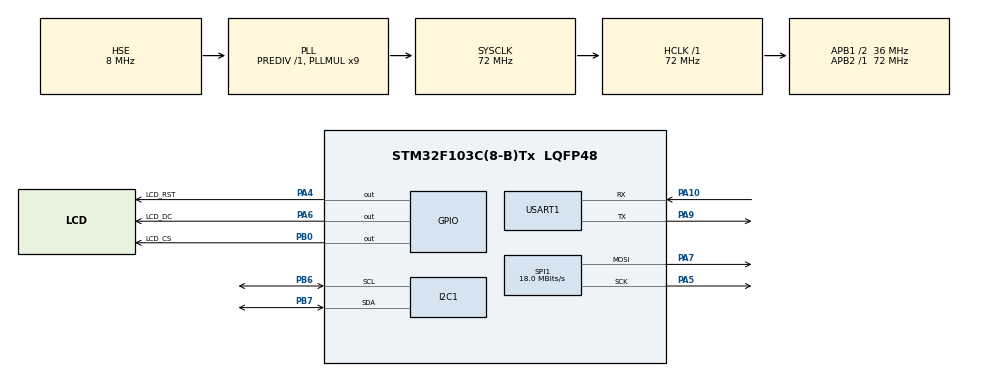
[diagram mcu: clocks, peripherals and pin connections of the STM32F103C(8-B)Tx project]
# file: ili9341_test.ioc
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Dma.Request0=SPI1_TX
Dma.SPI1_TX.0.Direction=DMA_MEMORY_TO_PERIPH
Dma.SPI1_TX.0.Instance=DMA1_Channel3
Dma.SPI1_TX.0.MemDataAlignment=DMA_MDATAALIGN_BYTE
Dma.SPI1_TX.0.MemInc=DMA_MINC_ENABLE
Dma.SPI1_TX.0.Mode=DMA_NORMAL
Dma.SPI1_TX.0.PeriphDataAlignment=DMA_PDATAALIGN_BYTE
Dma.SPI1_TX.0.PeriphInc=DMA_PINC_DISABLE
Dma.SPI1_TX.0.Priority=DMA_PRIORITY_LOW
Mcu.Family=STM32F1
Mcu.Name=STM32F103C(8-B)Tx
Mcu.Package=LQFP48
NVIC.DMA1_Channel3_IRQn=true\:0\:0\:false\:false\:true\:false\:true\:true
NVIC.PriorityGroup=NVIC_PRIORITYGROUP_4
PA10.Mode=Asynchronous
PA10.Signal=USART1_RX
PA13.Mode=Serial_Wire
PA13.Signal=SYS_JTMS-SWDIO
PA14.Mode=Serial_Wire
PA14.Signal=SYS_JTCK-SWCLK
PA4.GPIO_Label=LCD_RST
PA4.GPIO_PuPd=GPIO_PULLUP
PA4.GPIO_Speed=GPIO_SPEED_FREQ_HIGH
PA4.PinState=GPIO_PIN_SET
PA4.Signal=GPIO_Output
PA5.Mode=TX_Only_Simplex_Unidirect_Master
PA5.Signal=SPI1_SCK
PA6.GPIO_Label=LCD_DC
PA6.GPIO_PuPd=GPIO_PULLUP
PA6.GPIO_Speed=GPIO_SPEED_FREQ_HIGH
PA6.PinState=GPIO_PIN_SET
PA6.Signal=GPIO_Output
PA7.Mode=TX_Only_Simplex_Unidirect_Master
PA7.Signal=SPI1_MOSI
PA9.Mode=Asynchronous
PA9.Signal=USART1_TX
PB0.GPIO_Label=LCD_CS
PB0.GPIO_PuPd=GPIO_PULLUP
PB0.GPIO_Speed=GPIO_SPEED_FREQ_HIGH
PB0.PinState=GPIO_PIN_SET
PB0.Signal=GPIO_Output
PB6.Mode=I2C
PB6.Signal=I2C1_SCL
PB7.Mode=I2C
PB7.Signal=I2C1_SDA
PD0-OSC_IN.Mode=HSE-External-Oscillator
PD0-OSC_IN.Signal=RCC_OSC_IN
PD1-OSC_OUT.Mode=HSE-External-Oscillator
PD1-OSC_OUT.Signal=RCC_OSC_OUT
ProjectManager.HeapSize=0x200
ProjectManager.StackSize=0x400
ProjectManager.TargetToolchain=STM32CubeIDE
RCC.AHBFreq_Value=72000000
RCC.APB1CLKDivider=RCC_HCLK_DIV2
RCC.APB1Freq_Value=36000000
RCC.APB1TimFreq_Value=72000000
RCC.APB2Freq_Value=72000000
RCC.APB2TimFreq_Value=72000000
RCC.HCLKFreq_Value=72000000
RCC.PLLMUL=RCC_PLL_MUL9
RCC.PLLSourceVirtual=RCC_PLLSOURCE_HSE
RCC.SYSCLKFreq_VALUE=72000000
RCC.SYSCLKSource=RCC_SYSCLKSOURCE_PLLCLK
RCC.USBFreq_Value=72000000
SPI1.BaudRatePrescaler=SPI_BAUDRATEPRESCALER_4
SPI1.CalculateBaudRate=18.0 MBits/s
SPI1.Direction=SPI_DIRECTION_2LINES
SPI1.Mode=SPI_MODE_MASTER
SPI1.VirtualType=VM_MASTER
USART1.VirtualMode=VM_ASYNC
board=custom

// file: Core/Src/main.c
/* USER CODE BEGIN Header */
/**
 ******************************************************************************
 * @file           : main.c
 * @brief          : Main program body
 ******************************************************************************
 * @attention
 *
 * Copyright (c) 2023 STMicroelectronics.
 * All rights reserved.
 *
 * This software is licensed under terms that can be found in the LICENSE file
 * in the root directory of this software component.
 * If no LICENSE file comes with this software, it is provided AS-IS.
 *
 ******************************************************************************
 */
/* USER CODE END Header */
#include "main.h"

/* USER CODE BEGIN Includes */
#include "stdio.h"
#include "stdlib.h"
#include "ILI9341_STM32_Driver.h"
#include "ILI9341_GFX.h"
#include "adxl345.h"
/* USER CODE END Includes */

I2C_HandleTypeDef hi2c1;

SPI_HandleTypeDef hspi1;
DMA_HandleTypeDef hdma_spi1_tx;

UART_HandleTypeDef huart1;

/* USER CODE BEGIN PV */
char buffer[10];

typedef struct _point {
	int x;
	int y;
} Point;

Point point[100];

float readings[3] = { 0, 0, 0 }; // X, Y and Z buffer
/* USER CODE END PV */

void SystemClock_Config(void);
static void MX_GPIO_Init(void);
static void MX_DMA_Init(void);
static void MX_SPI1_Init(void);
static void MX_I2C1_Init(void);
static void MX_USART1_UART_Init(void);

/* USER CODE BEGIN 0 */
int __io_putchar(int ch) {
	(void) HAL_UART_Transmit(&huart1, (uint8_t*) &ch, 1, 100);
	return ch;
}
/* USER CODE END 0 */

int main(void)
{

  /* MCU Configuration--------------------------------------------------------*/

  /* Reset of all peripherals, Initializes the Flash interface and the Systick. */
  HAL_Init();

  /* Configure the system clock */
  SystemClock_Config();

  /* Initialize all configured peripherals */
  MX_GPIO_Init();
  MX_DMA_Init();
  MX_SPI1_Init();
  MX_I2C1_Init();
  MX_USART1_UART_Init();
  /* USER CODE BEGIN 2 */

	ILI9341_Init();

	// Simple Text writing (Text, Font, X, Y, Color, BackColor)
	// Available Fonts are FONT1, FONT2, FONT3 and FONT4
	//ILI9341_FillScreen(WHITE);
	ILI9341_SetRotation(SCREEN_HORIZONTAL_1);
	//ILI9341_DrawText("HELLO WORLD", FONT4, 90, 110, BLACK, WHITE);
	//HAL_Delay(1000);

	//Writing numbers
	ILI9341_FillScreen(BLACK);
	/*
	 static char BufferText[30];
	 for (uint8_t i = 0; i <= 5; i++) {
	 sprintf(BufferText, "COUNT : %d", i);
	 ILI9341_DrawText(BufferText, FONT3, 10, 10, BLACK, WHITE);
	 ILI9341_DrawText(BufferText, FONT3, 10, 30, BLUE, WHITE);
	 ILI9341_DrawText(BufferText, FONT3, 10, 50, RED, WHITE);
	 ILI9341_DrawText(BufferText, FONT3, 10, 70, GREEN, WHITE);
	 ILI9341_DrawText(BufferText, FONT3, 10, 90, YELLOW, WHITE);
	 ILI9341_DrawText(BufferText, FONT3, 10, 110, PURPLE, WHITE);
	 ILI9341_DrawText(BufferText, FONT3, 10, 130, ORANGE, WHITE);
	 ILI9341_DrawText(BufferText, FONT3, 10, 150, MAROON, WHITE);
	 ILI9341_DrawText(BufferText, FONT3, 10, 170, WHITE, BLACK);
	 ILI9341_DrawText(BufferText, FONT3, 10, 190, BLUE, BLACK);
	 }

	 // Horizontal Line (X, Y, Length, Color)
	 ILI9341_FillScreen(WHITE);
	 ILI9341_DrawHLine(50, 120, 200, NAVY);
	 HAL_Delay(1000);

	 // Vertical Line (X, Y, Length, Color)
	 ILI9341_FillScreen(WHITE);
	 ILI9341_DrawVLine(160, 40, 150, DARKGREEN);
	 HAL_Delay(1000);

	 // Hollow Circle (Centre X, Centre Y, Radius, Color)
	 ILI9341_FillScreen(WHITE);
	 ILI9341_DrawHollowCircle(160, 120, 80, PINK);
	 HAL_Delay(1000);

	 // Filled Circle (Centre X, Centre Y, Radius, Color)
	 ILI9341_FillScreen(WHITE);
	 ILI9341_DrawFilledCircle(160, 120, 50, CYAN);
	 HAL_Delay(1000);

	 // Filled Rectangle (Start X, Start Y, Length X, Length Y)
	 ILI9341_FillScreen(WHITE);
	 ILI9341_DrawRectangle(50, 50, 220, 140, GREENYELLOW);
	 HAL_Delay(1000);

	 // Hollow Rectangle (Start X, Start Y, End X, End Y)
	 ILI9341_FillScreen(WHITE);
	 ILI9341_DrawHollowRectangleCoord(50, 50, 270, 190, DARKCYAN);
	 HAL_Delay(1000);

	 // Simple Pixel Only (X, Y, Color)
	 ILI9341_FillScreen(WHITE);
	 ILI9341_DrawPixel(100, 100, BLACK);
	 HAL_Delay(1000);
	 */
  /* USER CODE END 2 */

  /* Infinite loop */
  /* USER CODE BEGIN WHILE */
	ADXL345Init();
	accelAverage();

	for (int i = 0; i < 25; i++) {
		int gap = rand() % 50;
		point[i].x = 160 - gap;
		point[i].y = 120 - gap;
	}

	for (int i = 25; i < 50; i++) {
		int gap = rand() % 50;
		point[i].x = 160 + gap;
		point[i].y = 120 + gap;
	}
	for (int i = 50; i < 75; i++) {
		int gap = rand() % 50;
		point[i].x = 160 + gap;
		point[i].y = 120 - gap;
	}
	for (int i = 75; i < 100; i++) {
		int gap = rand() % 50;
		point[i].x = 160 - gap;
		point[i].y = 120 + gap;
	}

	 int rad[100];
	 for (int i = 0; i < 100; i++) {
	 rad[i] = rand() % 20;
	 }

	while (1) {
    /* USER CODE END WHILE */

    /* USER CODE BEGIN 3 */
		// ILI9341_FillScreen(BLACK);
		int16_t x, y, z = 0;
		multiDataRead(&x, &y, &z);
		x -= readings[0];
		y -= readings[1];
		z -= readings[2];
		z += 256;
		printf("%d %d %d\r\n", x, y, z);

		for (int i = 0; i < 25; i++) {
			float ratio = rand() % 100;
			ratio = ratio * 0.01;
			int pixel_y = ratio * x * 120 / 512;
			int pixel_x = ratio * y * 160 / 512;
			ILI9341_DrawPixel(point[i].x, point[i].y, BLACK);

			//ILI9341_DrawHollowCircle(point[i].x, point[i].y, rad[i], BLACK);
			//ILI9341_DrawText("HELLO", FONT4, point[i].x, point[i].y, BLACK, BLACK);

			point[i].x = point[i].x - pixel_x;
			point[i].y = point[i].y - pixel_y;

			if (point[i].x > 319) {
				point[i].x = 319;
			} else if (point[i].x < 0) {
				point[i].x = 0;
			}

			if (point[i].y > 239) {
				point[i].y = 239;
			} else if (point[i].y < 0) {
				point[i].y = 0;
			}
			ILI9341_DrawPixel(point[i].x, point[i].y, GREEN);
			//ILI9341_DrawHollowCircle(point[i].x, point[i].y, rad[i], GREEN);
			//ILI9341_DrawText("HELLO", FONT4, point[i].x, point[i].y, WHITE, BLACK);
		}

		for (int i = 25; i < 50; i++) {
			float ratio = rand() % 100;
			ratio = ratio * 0.01;
			int pixel_y = ratio * x * 120 / 512;
			int pixel_x = ratio * y * 160 / 512;
			ILI9341_DrawPixel(point[i].x, point[i].y, BLACK);

			//ILI9341_DrawHollowCircle(point[i].x, point[i].y, rad[i], BLACK);
			//ILI9341_DrawText("WORLD", FONT4, point[i].x, point[i].y, BLACK, BLACK);

			point[i].x = point[i].x - pixel_x;
			point[i].y = point[i].y - pixel_y;

			if (point[i].x > 319) {
				point[i].x = 319;
			} else if (point[i].x < 0) {
				point[i].x = 0;
			}

			if (point[i].y > 239) {
				point[i].y = 239;
			} else if (point[i].y < 0) {
				point[i].y = 0;
			}
			ILI9341_DrawPixel(point[i].x, point[i].y, CYAN);
			//ILI9341_DrawHollowCircle(point[i].x, point[i].y, rad[i], CYAN);
			//ILI9341_DrawText("WORLD", FONT4, point[i].x, point[i].y, WHITE, BLACK);
		}

		for (int i = 50; i < 75; i++) {
			float ratio = rand() % 100;
			ratio = ratio * 0.01;
			int pixel_y = ratio * x * 120 / 512;
			int pixel_x = ratio * y * 160 / 512;
			ILI9341_DrawPixel(point[i].x, point[i].y, BLACK);

			//ILI9341_DrawHollowCircle(point[i].x, point[i].y, rad[i], BLACK);
			//ILI9341_DrawText("pill", FONT4, point[i].x, point[i].y, BLACK, BLACK);

			point[i].x = point[i].x - pixel_x;
			point[i].y = point[i].y - pixel_y;

			if (point[i].x > 319) {
				point[i].x = 319;
			} else if (point[i].x < 0) {
				point[i].x = 0;
			}

			if (point[i].y > 239) {
				point[i].y = 239;
			} else if (point[i].y < 0) {
				point[i].y = 0;
			}
			ILI9341_DrawPixel(point[i].x, point[i].y, YELLOW);
			//ILI9341_DrawHollowCircle(point[i].x, point[i].y, rad[i], YELLOW);
			//ILI9341_DrawText("pill", FONT4, point[i].x, point[i].y, WHITE, BLACK);
		}

		for (int i = 75; i < 100; i++) {
			float ratio = rand() % 100;
			ratio = ratio * 0.01;
			int pixel_y = ratio * x * 120 / 512;
			int pixel_x = ratio * y * 160 / 512;
			ILI9341_DrawPixel(point[i].x, point[i].y, BLACK);

			//ILI9341_DrawHollowCircle(point[i].x, point[i].y, rad[i], BLACK);
			//ILI9341_DrawText("blue", FONT4, point[i].x, point[i].y, BLACK, BLACK);

			point[i].x = point[i].x - pixel_x;
			point[i].y = point[i].y - pixel_y;

			if (point[i].x > 319) {
				point[i].x = 319;
			} else if (point[i].x < 0) {
				point[i].x = 0;
			}

			if (point[i].y > 239) {
				point[i].y = 239;
			} else if (point[i].y < 0) {
				point[i].y = 0;
			}
			ILI9341_DrawPixel(point[i].x, point[i].y, ORANGE);
			//ILI9341_DrawHollowCircle(point[i].x, point[i].y, rad[i], ORANGE);
			//ILI9341_DrawText("blue", FONT4, point[i].x, point[i].y, WHITE, BLACK);
		}

	}
  /* USER CODE END 3 */
}

void SystemClock_Config(void)
{
  RCC_OscInitTypeDef RCC_OscInitStruct = {0};
  RCC_ClkInitTypeDef RCC_ClkInitStruct = {0};

  /** Initializes the RCC Oscillators according to the specified parameters
  * in the RCC_OscInitTypeDef structure.
  */
  RCC_OscInitStruct.OscillatorType = RCC_OSCILLATORTYPE_HSE;
  RCC_OscInitStruct.HSEState = RCC_HSE_ON;
  RCC_OscInitStruct.HSEPredivValue = RCC_HSE_PREDIV_DIV1;
  RCC_OscInitStruct.HSIState = RCC_HSI_ON;
  RCC_OscInitStruct.PLL.PLLState = RCC_PLL_ON;
  RCC_OscInitStruct.PLL.PLLSource = RCC_PLLSOURCE_HSE;
  RCC_OscInitStruct.PLL.PLLMUL = RCC_PLL_MUL9;
  if (HAL_RCC_OscConfig(&RCC_OscInitStruct) != HAL_OK)
  {
    Error_Handler();
  }

  /** Initializes the CPU, AHB and APB buses clocks
  */
  RCC_ClkInitStruct.ClockType = RCC_CLOCKTYPE_HCLK|RCC_CLOCKTYPE_SYSCLK
                              |RCC_CLOCKTYPE_PCLK1|RCC_CLOCKTYPE_PCLK2;
  RCC_ClkInitStruct.SYSCLKSource = RCC_SYSCLKSOURCE_PLLCLK;
  RCC_ClkInitStruct.AHBCLKDivider = RCC_SYSCLK_DIV1;
  RCC_ClkInitStruct.APB1CLKDivider = RCC_HCLK_DIV2;
  RCC_ClkInitStruct.APB2CLKDivider = RCC_HCLK_DIV1;

  if (HAL_RCC_ClockConfig(&RCC_ClkInitStruct, FLASH_LATENCY_2) != HAL_OK)
  {
    Error_Handler();
  }
}

static void MX_I2C1_Init(void)
{

  hi2c1.Instance = I2C1;
  hi2c1.Init.ClockSpeed = 100000;
  hi2c1.Init.DutyCycle = I2C_DUTYCYCLE_2;
  hi2c1.Init.OwnAddress1 = 0;
  hi2c1.Init.AddressingMode = I2C_ADDRESSINGMODE_7BIT;
  hi2c1.Init.DualAddressMode = I2C_DUALADDRESS_DISABLE;
  hi2c1.Init.OwnAddress2 = 0;
  hi2c1.Init.GeneralCallMode = I2C_GENERALCALL_DISABLE;
  hi2c1.Init.NoStretchMode = I2C_NOSTRETCH_DISABLE;
  if (HAL_I2C_Init(&hi2c1) != HAL_OK)
  {
    Error_Handler();
  }

}

static void MX_SPI1_Init(void)
{

  /* SPI1 parameter configuration*/
  hspi1.Instance = SPI1;
  hspi1.Init.Mode = SPI_MODE_MASTER;
  hspi1.Init.Direction = SPI_DIRECTION_2LINES;
  hspi1.Init.DataSize = SPI_DATASIZE_8BIT;
  hspi1.Init.CLKPolarity = SPI_POLARITY_LOW;
  hspi1.Init.CLKPhase = SPI_PHASE_1EDGE;
  hspi1.Init.NSS = SPI_NSS_SOFT;
  hspi1.Init.BaudRatePrescaler = SPI_BAUDRATEPRESCALER_4;
  hspi1.Init.FirstBit = SPI_FIRSTBIT_MSB;
  hspi1.Init.TIMode = SPI_TIMODE_DISABLE;
  hspi1.Init.CRCCalculation = SPI_CRCCALCULATION_DISABLE;
  hspi1.Init.CRCPolynomial = 10;
  if (HAL_SPI_Init(&hspi1) != HAL_OK)
  {
    Error_Handler();
  }

}

static void MX_USART1_UART_Init(void)
{

  huart1.Instance = USART1;
  huart1.Init.BaudRate = 115200;
  huart1.Init.WordLength = UART_WORDLENGTH_8B;
  huart1.Init.StopBits = UART_STOPBITS_1;
  huart1.Init.Parity = UART_PARITY_NONE;
  huart1.Init.Mode = UART_MODE_TX_RX;
  huart1.Init.HwFlowCtl = UART_HWCONTROL_NONE;
  huart1.Init.OverSampling = UART_OVERSAMPLING_16;
  if (HAL_UART_Init(&huart1) != HAL_OK)
  {
    Error_Handler();
  }

}

static void MX_DMA_Init(void)
{

  /* DMA controller clock enable */
  __HAL_RCC_DMA1_CLK_ENABLE();

  /* DMA interrupt init */
  /* DMA1_Channel3_IRQn interrupt configuration */
  HAL_NVIC_SetPriority(DMA1_Channel3_IRQn, 0, 0);
  HAL_NVIC_EnableIRQ(DMA1_Channel3_IRQn);

}

static void MX_GPIO_Init(void)
{
  GPIO_InitTypeDef GPIO_InitStruct = {0};

  /* GPIO Ports Clock Enable */
  __HAL_RCC_GPIOD_CLK_ENABLE();
  __HAL_RCC_GPIOA_CLK_ENABLE();
  __HAL_RCC_GPIOB_CLK_ENABLE();

  /*Configure GPIO pin Output Level */
  HAL_GPIO_WritePin(GPIOA, LCD_RST_Pin|LCD_DC_Pin, GPIO_PIN_SET);

  /*Configure GPIO pin Output Level */
  HAL_GPIO_WritePin(LCD_CS_GPIO_Port, LCD_CS_Pin, GPIO_PIN_SET);

  /*Configure GPIO pins : LCD_RST_Pin LCD_DC_Pin */
  GPIO_InitStruct.Pin = LCD_RST_Pin|LCD_DC_Pin;
  GPIO_InitStruct.Mode = GPIO_MODE_OUTPUT_PP;
  GPIO_InitStruct.Pull = GPIO_PULLUP;
  GPIO_InitStruct.Speed = GPIO_SPEED_FREQ_HIGH;
  HAL_GPIO_Init(GPIOA, &GPIO_InitStruct);

  /*Configure GPIO pin : LCD_CS_Pin */
  GPIO_InitStruct.Pin = LCD_CS_Pin;
  GPIO_InitStruct.Mode = GPIO_MODE_OUTPUT_PP;
  GPIO_InitStruct.Pull = GPIO_PULLUP;
  GPIO_InitStruct.Speed = GPIO_SPEED_FREQ_HIGH;
  HAL_GPIO_Init(LCD_CS_GPIO_Port, &GPIO_InitStruct);

}

void Error_Handler(void)
{
	__disable_irq();
	while (1) {
	}
}
